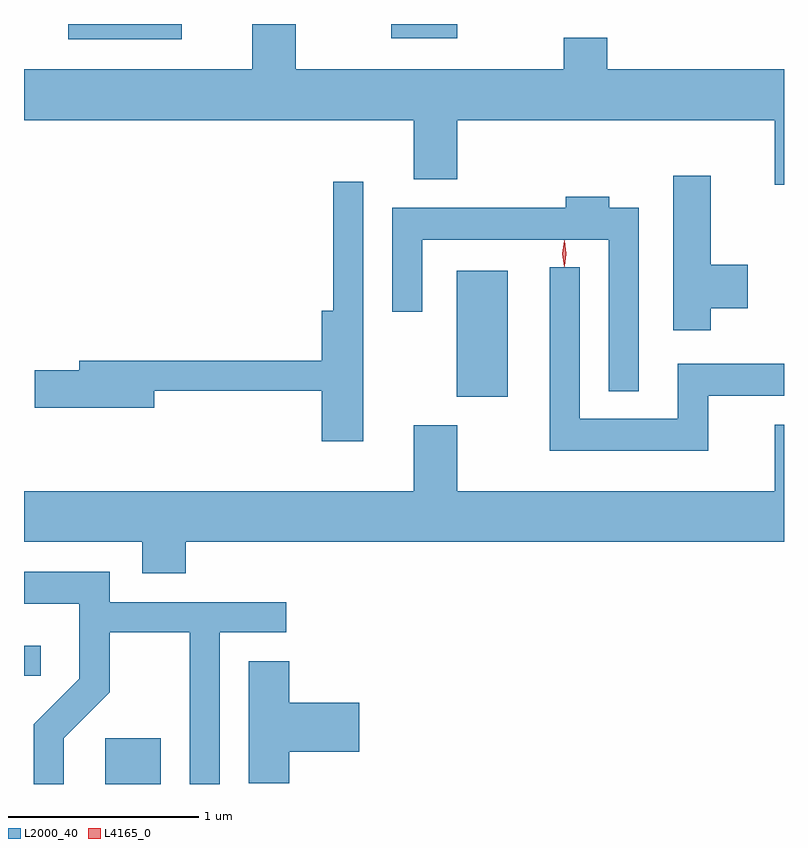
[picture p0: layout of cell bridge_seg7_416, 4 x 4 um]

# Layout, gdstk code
import gdstk
lib = gdstk.Library(unit=1e-6, precision=1e-09)
def R(c, l, rs):  # rectangles x0, y0, x1, y1
    for r in rs: c.add(gdstk.rectangle(r[:2], r[2:], *l))
def P(c, l, *ps):  # polygons
    for p in ps: c.add(gdstk.Polygon(p, *l))
L2000_40 = (2000, 40)
L4165_0 = (4165, 0)

bridge_seg7_416 = lib.new_cell('bridge_seg7_416')
R(bridge_seg7_416, L2000_40, [(1129.536,1690.842,1129.829,1691.084), (1129.109,1691.411,1129.198,1691.569), (1131.386,1692.881,1131.654,1693.544), (1129.341,1694.761,1129.938,1694.842), (1131.041,1694.766,1131.388,1694.842)])
P(bridge_seg7_416, L2000_40, [(1130.311,1694.842),(1130.311,1694.604),(1129.109,1694.604),(1129.109,1694.336),(1131.161,1694.336),(1131.161,1694.026),(1131.389,1694.026),(1131.389,1694.336),(1133.061,1694.336),(1133.061,1693.996),(1133.109,1693.996),(1133.109,1694.604),(1132.179,1694.604),(1132.179,1694.769),(1131.951,1694.769),(1131.951,1694.604),(1130.539,1694.604),(1130.539,1694.842)],
  [(1132.724,1693.346),(1132.919,1693.346),(1132.919,1693.574),(1132.724,1693.574),(1132.724,1694.044),(1132.526,1694.044),(1132.526,1693.231),(1132.724,1693.231)],
  [(1130.894,1694.013),(1130.736,1694.013),(1130.736,1693.334),(1130.676,1693.334),(1130.676,1693.069),(1129.401,1693.069),(1129.401,1693.019),(1129.166,1693.019),(1129.166,1692.821),(1129.794,1692.821),(1129.794,1692.911),(1130.676,1692.911),(1130.676,1692.646),(1130.894,1692.646)],
  [(1132.344,1693.874),(1132.189,1693.874),(1132.189,1693.934),(1131.961,1693.934),(1131.961,1693.874),(1131.046,1693.874),(1131.046,1693.328),(1131.204,1693.328),(1131.204,1693.706),(1132.186,1693.706),(1132.186,1692.908),(1132.344,1692.908)],
  [(1132.709,1692.886),(1133.109,1692.886),(1133.109,1693.054),(1132.551,1693.054),(1132.551,1692.764),(1132.034,1692.764),(1132.034,1693.563),(1131.876,1693.563),(1131.876,1692.596),(1132.709,1692.596)],
  [(1129.959,1692.116),(1133.109,1692.116),(1133.109,1692.734),(1133.061,1692.734),(1133.061,1692.384),(1131.389,1692.384),(1131.389,1692.729),(1131.161,1692.729),(1131.161,1692.384),(1129.109,1692.384),(1129.109,1692.116),(1129.731,1692.116),(1129.731,1691.951),(1129.959,1691.951)],
  [(1129.319,1691.084),(1129.559,1691.324),(1129.559,1691.641),(1129.981,1691.641),(1129.981,1690.842),(1130.139,1690.842),(1130.139,1691.641),(1130.488,1691.641),(1130.488,1691.799),(1129.559,1691.799),(1129.559,1691.959),(1129.109,1691.959),(1129.109,1691.791),(1129.401,1691.791),(1129.401,1691.397),(1129.161,1691.157),(1129.161,1690.842),(1129.319,1690.842)],
  [(1130.504,1691.011),(1130.874,1691.011),(1130.874,1691.269),(1130.504,1691.269),(1130.504,1691.489),(1130.291,1691.489),(1130.291,1690.846),(1130.504,1690.846)])
P(bridge_seg7_416, L4165_0, [(1131.954,1693.567),(1131.954,1693.568),(1131.944,1693.634),(1131.954,1693.7),(1131.954,1693.701),(1131.955,1693.7),(1131.964,1693.634),(1131.955,1693.568)],
  [(1131.953,1693.563),(1131.952,1693.564),(1131.943,1693.633),(1131.952,1693.702),(1131.953,1693.703),(1131.953,1693.702),(1131.963,1693.633),(1131.953,1693.564)])

lib.write_gds('bridge_seg7_416.gds')
